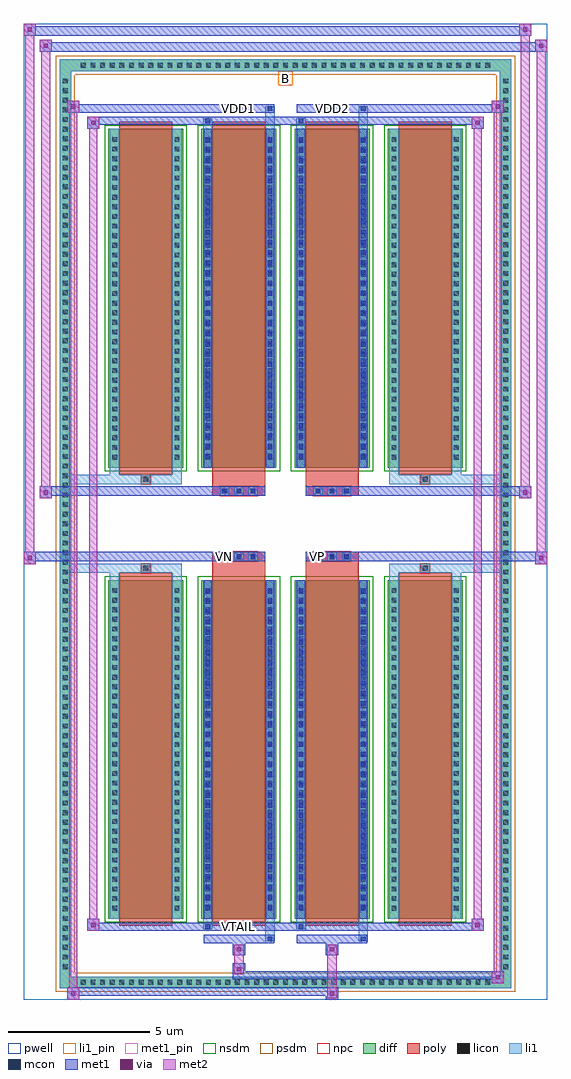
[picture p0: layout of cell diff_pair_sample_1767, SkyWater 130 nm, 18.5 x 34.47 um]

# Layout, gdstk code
import gdstk
lib = gdstk.Library(unit=1e-6, precision=5e-09)
def R(c, l, rs):  # rectangles x0, y0, x1, y1
    for r in rs: c.add(gdstk.rectangle(r[:2], r[2:], *l))
def A(c, l, x, y, w, h, nx, ny, dx, dy):  # array of equal rectangles
    R(c, l, [(x+i*dx, y+j*dy, x+i*dx+w, y+j*dy+h) for i in range(nx) for j in range(ny)])
def P(c, l, *ps):  # polygons
    for p in ps: c.add(gdstk.Polygon(p, *l))
pwell = (64, 44)
diff = (65, 20)
poly = (66, 20)
licon = (66, 44)
li1_pin = (67, 16)
li1 = (67, 20)
mcon = (67, 44)
met1_pin = (68, 16)
met1 = (68, 20)
via = (68, 44)
met2 = (69, 20)
nsdm = (93, 44)
psdm = (94, 20)
npc = (95, 20)

diff_pair_sample_1767 = lib.new_cell('diff_pair_sample_1767')
R(diff_pair_sample_1767, pwell, [(-9.25,-16.8,9.25,17.67), (-6.57,-14.99,-0.01,-0.795), (0.01,-14.99,6.57,-0.795), (-6.57,0.795,-0.01,14.99), (0.01,0.795,6.57,14.99)])
A(diff_pair_sample_1767, diff, -7.345, -16.4, 0.41, 0.41, 43, 2, 0.34, 32.39)
A(diff_pair_sample_1767, diff, -7.98, -15.845, 0.41, 0.41, 1, 93, 0, 0.34)
A(diff_pair_sample_1767, diff, 7.57, -15.845, 0.41, 0.41, 1, 93, 0, 0.34)
A(diff_pair_sample_1767, diff, -6.26, -13.945, 2.65, 11.96, 4, 2, 3.29, 15.93)
R(diff_pair_sample_1767, diff, [(-7.345,-16.4,7.345,-15.99), (-7.98,-15.845,-7.57,15.845), (7.57,-15.845,7.98,15.845), (-7.345,15.99,7.345,16.4)])
P(diff_pair_sample_1767, diff, [(7.98,16.4),(-7.98,16.4),(-7.98,-15.99),(-7.57,-15.99),(-7.57,15.99),(7.57,15.99),(7.57,-15.99),(-7.57,-15.99),(-7.98,-15.99),(-7.98,-16.4),(7.98,-16.4)])
A(diff_pair_sample_1767, poly, -5.87, -14.195, 1.87, 12.46, 4, 2, 3.29, 15.93)
A(diff_pair_sample_1767, poly, -2.31, -1.325, 0.33, 0.33, 3, 2, 0.5, 2.32)
A(diff_pair_sample_1767, poly, 0.98, -1.325, 0.33, 0.33, 3, 2, 0.5, 2.32)
R(diff_pair_sample_1767, poly, [(-5.1,-1.735,-4.77,-1.405), (-5.1,-1.735,-4.77,-1.405), (-2.58,-1.735,-0.71,-1.325), (0.71,-1.735,2.58,-1.325), (4.77,-1.735,5.1,-1.405), (4.77,-1.735,5.1,-1.405), (-2.58,-1.325,-0.71,-0.995), (0.71,-1.325,2.58,-0.995), (-2.58,0.995,-0.71,1.325), (0.71,0.995,2.58,1.325), (-2.58,1.325,-0.71,1.735), (0.71,1.325,2.58,1.735), (-5.1,1.405,-4.77,1.735), (-5.1,1.405,-4.77,1.735), (4.77,1.405,5.1,1.735), (4.77,1.405,5.1,1.735)])
A(diff_pair_sample_1767, licon, -7.225, -16.28, 0.17, 0.17, 43, 2, 0.34, 32.39)
A(diff_pair_sample_1767, licon, -7.86, -15.725, 0.17, 0.17, 1, 93, 0, 0.34)
A(diff_pair_sample_1767, licon, 7.69, -15.725, 0.17, 0.17, 1, 93, 0, 0.34)
A(diff_pair_sample_1767, licon, -6.12, -13.66, 0.17, 0.17, 1, 34, 0, 0.34)
A(diff_pair_sample_1767, licon, -3.92, -13.66, 0.17, 0.17, 1, 34, 0, 0.34)
A(diff_pair_sample_1767, licon, -2.83, -13.66, 0.17, 0.17, 1, 34, 0, 0.34)
A(diff_pair_sample_1767, licon, -0.63, -13.66, 0.17, 0.17, 1, 34, 0, 0.34)
A(diff_pair_sample_1767, licon, 0.46, -13.66, 0.17, 0.17, 1, 34, 0, 0.34)
A(diff_pair_sample_1767, licon, 2.66, -13.66, 0.17, 0.17, 1, 34, 0, 0.34)
A(diff_pair_sample_1767, licon, 3.75, -13.66, 0.17, 0.17, 1, 34, 0, 0.34)
A(diff_pair_sample_1767, licon, 5.95, -13.66, 0.17, 0.17, 1, 34, 0, 0.34)
A(diff_pair_sample_1767, licon, -2.23, -1.245, 0.17, 0.17, 3, 2, 0.5, 2.32)
A(diff_pair_sample_1767, licon, 1.06, -1.245, 0.17, 0.17, 3, 2, 0.5, 2.32)
A(diff_pair_sample_1767, licon, -6.12, 2.27, 0.17, 0.17, 1, 34, 0, 0.34)
A(diff_pair_sample_1767, licon, -3.92, 2.27, 0.17, 0.17, 1, 34, 0, 0.34)
A(diff_pair_sample_1767, licon, -2.83, 2.27, 0.17, 0.17, 1, 34, 0, 0.34)
A(diff_pair_sample_1767, licon, -0.63, 2.27, 0.17, 0.17, 1, 34, 0, 0.34)
A(diff_pair_sample_1767, licon, 0.46, 2.27, 0.17, 0.17, 1, 34, 0, 0.34)
A(diff_pair_sample_1767, licon, 2.66, 2.27, 0.17, 0.17, 1, 34, 0, 0.34)
A(diff_pair_sample_1767, licon, 3.75, 2.27, 0.17, 0.17, 1, 34, 0, 0.34)
A(diff_pair_sample_1767, licon, 5.95, 2.27, 0.17, 0.17, 1, 34, 0, 0.34)
R(diff_pair_sample_1767, licon, [(-5.02,-1.655,-4.85,-1.485), (4.85,-1.655,5.02,-1.485), (-5.02,1.485,-4.85,1.655), (4.85,1.485,5.02,1.655)])
R(diff_pair_sample_1767, li1_pin, [(-0.25,15.49,0.25,15.99)])
A(diff_pair_sample_1767, li1, -7.305, -16.36, 0.33, 0.33, 43, 2, 0.34, 32.39)
A(diff_pair_sample_1767, li1, -7.94, -15.805, 0.33, 0.33, 1, 93, 0, 0.34)
A(diff_pair_sample_1767, li1, 7.61, -15.805, 0.33, 0.33, 1, 93, 0, 0.34)
A(diff_pair_sample_1767, li1, -6.2, -13.74, 0.33, 0.33, 1, 34, 0, 0.34)
A(diff_pair_sample_1767, li1, -4, -13.74, 0.33, 0.33, 1, 34, 0, 0.34)
A(diff_pair_sample_1767, li1, -2.91, -13.74, 0.33, 0.33, 1, 34, 0, 0.34)
A(diff_pair_sample_1767, li1, -0.71, -13.74, 0.33, 0.33, 1, 34, 0, 0.34)
A(diff_pair_sample_1767, li1, 0.38, -13.74, 0.33, 0.33, 1, 34, 0, 0.34)
A(diff_pair_sample_1767, li1, 2.58, -13.74, 0.33, 0.33, 1, 34, 0, 0.34)
A(diff_pair_sample_1767, li1, 3.67, -13.74, 0.33, 0.33, 1, 34, 0, 0.34)
A(diff_pair_sample_1767, li1, 5.87, -13.74, 0.33, 0.33, 1, 34, 0, 0.34)
A(diff_pair_sample_1767, li1, -2.83, -13.63, 0.17, 0.17, 1, 32, 0, 0.36)
A(diff_pair_sample_1767, li1, -0.63, -13.63, 0.17, 0.17, 1, 32, 0, 0.36)
A(diff_pair_sample_1767, li1, 0.46, -13.63, 0.17, 0.17, 1, 32, 0, 0.36)
A(diff_pair_sample_1767, li1, 2.66, -13.63, 0.17, 0.17, 1, 32, 0, 0.36)
A(diff_pair_sample_1767, li1, -2.31, -1.325, 0.33, 0.33, 3, 2, 0.5, 2.32)
A(diff_pair_sample_1767, li1, 0.98, -1.325, 0.33, 0.33, 3, 2, 0.5, 2.32)
A(diff_pair_sample_1767, li1, -6.2, 2.19, 0.33, 0.33, 1, 34, 0, 0.34)
A(diff_pair_sample_1767, li1, -4, 2.19, 0.33, 0.33, 1, 34, 0, 0.34)
A(diff_pair_sample_1767, li1, -2.91, 2.19, 0.33, 0.33, 1, 34, 0, 0.34)
A(diff_pair_sample_1767, li1, -0.71, 2.19, 0.33, 0.33, 1, 34, 0, 0.34)
A(diff_pair_sample_1767, li1, 0.38, 2.19, 0.33, 0.33, 1, 34, 0, 0.34)
A(diff_pair_sample_1767, li1, 2.58, 2.19, 0.33, 0.33, 1, 34, 0, 0.34)
A(diff_pair_sample_1767, li1, 3.67, 2.19, 0.33, 0.33, 1, 34, 0, 0.34)
A(diff_pair_sample_1767, li1, 5.87, 2.19, 0.33, 0.33, 1, 34, 0, 0.34)
A(diff_pair_sample_1767, li1, -2.83, 2.3, 0.17, 0.17, 1, 32, 0, 0.36)
A(diff_pair_sample_1767, li1, -0.63, 2.3, 0.17, 0.17, 1, 32, 0, 0.36)
A(diff_pair_sample_1767, li1, 0.46, 2.3, 0.17, 0.17, 1, 32, 0, 0.36)
A(diff_pair_sample_1767, li1, 2.66, 2.3, 0.17, 0.17, 1, 32, 0, 0.36)
R(diff_pair_sample_1767, li1, [(-7.98,-16.4,-7.57,-15.99), (-7.98,-16.4,-7.57,-15.99), (-7.57,-16.4,7.57,-15.99), (7.57,-16.4,7.98,-15.99), (7.57,-16.4,7.98,-15.99), (-7.98,-15.99,-7.57,15.99), (7.57,-15.99,7.98,15.99), (-0.71,-14.75,-0.38,-13.945), (-0.63,-14.75,-0.46,-14.58), (2.58,-14.75,2.91,-13.945), (2.66,-14.75,2.83,-14.58), (-2.91,-14.32,-2.58,-13.945), (-2.83,-14.32,-2.66,-14.15), (0.38,-14.32,0.71,-13.945), (0.46,-14.32,0.63,-14.15), (-6.2,-13.945,-5.87,-1.985), (-4,-13.945,-3.67,-1.985), (-2.91,-13.945,-2.58,-1.985), (-0.71,-13.945,-0.38,-1.985), (0.38,-13.945,0.71,-1.985), (2.58,-13.945,2.91,-1.985), (3.67,-13.945,4,-1.985), (5.87,-13.945,6.2,-1.985), (-2.83,-13.63,-2.66,-2.3), (-0.63,-13.63,-0.46,-2.3), (0.46,-13.63,0.63,-2.3), (2.66,-13.63,2.83,-2.3), (-6.2,-1.985,-5.87,-1.405), (-4,-1.985,-3.67,-1.405), (3.67,-1.985,4,-1.405), (5.87,-1.985,6.2,-1.405), (-7.98,-1.735,-5.1,-1.405), (-6.2,-1.735,-5.1,-1.405), (-5.1,-1.735,-4.77,-1.405), (-4.77,-1.735,-3.67,-1.405), (3.67,-1.735,4.77,-1.405), (4.77,-1.735,5.1,-1.405), (4.77,-1.735,7.98,-1.405), (5.1,-1.735,6.2,-1.405), (-7.98,1.405,-5.1,1.735), (-6.2,1.405,-5.1,1.735), (-6.2,1.405,-5.87,1.985), (-5.1,1.405,-4.77,1.735), (-4.77,1.405,-3.67,1.735), (-4,1.405,-3.67,1.985), (3.67,1.405,4.77,1.735), (3.67,1.405,4,1.985), (4.77,1.405,5.1,1.735), (4.77,1.405,7.98,1.735), (5.1,1.405,6.2,1.735), (5.87,1.405,6.2,1.985), (-6.2,1.985,-5.87,13.945), (-4,1.985,-3.67,13.945), (-2.91,1.985,-2.58,13.945), (-0.71,1.985,-0.38,13.945), (0.38,1.985,0.71,13.945), (2.58,1.985,2.91,13.945), (3.67,1.985,4,13.945), (5.87,1.985,6.2,13.945), (-2.83,2.3,-2.66,13.63), (-0.63,2.3,-0.46,13.63), (0.46,2.3,0.63,13.63), (2.66,2.3,2.83,13.63), (-2.91,13.945,-2.58,14.32), (-0.71,13.945,-0.38,14.75), (0.38,13.945,0.71,14.32), (2.58,13.945,2.91,14.75), (-2.83,14.15,-2.66,14.32), (0.46,14.15,0.63,14.32), (-0.63,14.58,-0.46,14.75), (2.66,14.58,2.83,14.75), (-7.98,15.99,-7.57,16.4), (-7.98,15.99,-7.57,16.4), (-7.57,15.99,7.57,16.4), (7.57,15.99,7.98,16.4), (7.57,15.99,7.98,16.4)])
A(diff_pair_sample_1767, mcon, -2.83, -13.63, 0.17, 0.17, 1, 32, 0, 0.36)
A(diff_pair_sample_1767, mcon, -0.63, -13.63, 0.17, 0.17, 1, 32, 0, 0.36)
A(diff_pair_sample_1767, mcon, 0.46, -13.63, 0.17, 0.17, 1, 32, 0, 0.36)
A(diff_pair_sample_1767, mcon, 2.66, -13.63, 0.17, 0.17, 1, 32, 0, 0.36)
A(diff_pair_sample_1767, mcon, -2.23, -1.245, 0.17, 0.17, 3, 2, 0.5, 2.32)
A(diff_pair_sample_1767, mcon, 1.06, -1.245, 0.17, 0.17, 3, 2, 0.5, 2.32)
A(diff_pair_sample_1767, mcon, -2.83, 2.3, 0.17, 0.17, 1, 32, 0, 0.36)
A(diff_pair_sample_1767, mcon, -0.63, 2.3, 0.17, 0.17, 1, 32, 0, 0.36)
A(diff_pair_sample_1767, mcon, 0.46, 2.3, 0.17, 0.17, 1, 32, 0, 0.36)
A(diff_pair_sample_1767, mcon, 2.66, 2.3, 0.17, 0.17, 1, 32, 0, 0.36)
R(diff_pair_sample_1767, mcon, [(-0.63,-14.75,-0.46,-14.58), (2.66,-14.75,2.83,-14.58), (-2.83,-14.32,-2.66,-14.15), (0.46,-14.32,0.63,-14.15), (-2.83,14.15,-2.66,14.32), (0.46,14.15,0.63,14.32), (-0.63,14.58,-0.46,14.75), (2.66,14.58,2.83,14.75)])
R(diff_pair_sample_1767, met1_pin, [(-1.78,-14.36,-1.51,-14.09), (-2.28,-1.285,-2.01,-1.015), (1.01,-1.285,1.28,-1.015), (-1.78,14.54,-1.51,14.81), (1.51,14.54,1.78,14.81)])
A(diff_pair_sample_1767, met1, -2.89, -13.69, 0.29, 0.29, 1, 32, 0, 0.36)
A(diff_pair_sample_1767, met1, -0.69, -13.69, 0.29, 0.29, 1, 32, 0, 0.36)
A(diff_pair_sample_1767, met1, 0.4, -13.69, 0.29, 0.29, 1, 32, 0, 0.36)
A(diff_pair_sample_1767, met1, 2.6, -13.69, 0.29, 0.29, 1, 32, 0, 0.36)
A(diff_pair_sample_1767, met1, -2.29, -1.305, 0.29, 0.29, 3, 2, 0.5, 2.32)
A(diff_pair_sample_1767, met1, 1, -1.305, 0.29, 0.29, 3, 2, 0.5, 2.32)
A(diff_pair_sample_1767, met1, -2.89, 2.24, 0.29, 0.29, 1, 32, 0, 0.36)
A(diff_pair_sample_1767, met1, -0.69, 2.24, 0.29, 0.29, 1, 32, 0, 0.36)
A(diff_pair_sample_1767, met1, 0.4, 2.24, 0.29, 0.29, 1, 32, 0, 0.36)
A(diff_pair_sample_1767, met1, 2.6, 2.24, 0.29, 0.29, 1, 32, 0, 0.36)
R(diff_pair_sample_1767, met1, [(-7.71,-16.8,-7.28,-16.37), (1.43,-16.8,1.86,-16.37), (-7.71,-16.66,1.86,-16.37), (7.28,-16.23,7.71,-15.8), (-1.86,-16.09,7.71,-15.8), (-1.86,-15.95,-1.43,-15.52), (-1.86,-15.24,-1.43,-14.81), (1.43,-15.24,1.86,-14.81), (-2.89,-14.81,-0.4,-14.52), (-0.69,-14.81,-0.4,-14.52), (0.4,-14.81,2.89,-14.52), (2.6,-14.81,2.89,-14.52), (-7,-14.38,-6.57,-13.95), (-7,-14.38,-2.89,-14.09), (-2.89,-14.38,-2.6,-14.09), (-2.89,-14.38,-0.4,-14.09), (-0.4,-14.38,0.4,-14.09), (0.4,-14.38,0.69,-14.09), (0.4,-14.38,2.89,-14.09), (2.89,-14.38,7,-14.09), (6.57,-14.38,7,-13.95), (-2.89,-13.945,-2.6,-1.985), (-0.69,-13.945,-0.4,-1.985), (0.4,-13.945,0.69,-1.985), (2.6,-13.945,2.89,-1.985), (-9.25,-1.425,-8.82,-0.995), (8.82,-1.425,9.25,-0.995), (-9.25,-1.325,-0.71,-0.995), (-2.58,-1.325,-0.71,-0.995), (0.71,-1.325,2.58,-0.995), (0.71,-1.325,9.25,-0.995), (-8.68,0.895,-8.25,1.325), (8.25,0.895,8.68,1.325), (-8.68,0.995,-2.58,1.325), (-2.58,0.995,-0.71,1.325), (0.71,0.995,2.58,1.325), (2.58,0.995,8.68,1.325), (-2.89,1.985,-2.6,13.945), (-0.69,1.985,-0.4,13.945), (0.4,1.985,0.69,13.945), (2.6,1.985,2.89,13.945), (-7,13.95,-6.57,14.38), (6.57,13.95,7,14.38), (-7,14.09,-2.89,14.38), (-2.89,14.09,-2.6,14.38), (-2.89,14.09,-0.4,14.38), (-0.4,14.09,0.4,14.38), (0.4,14.09,0.69,14.38), (0.4,14.09,2.89,14.38), (2.89,14.09,7,14.38), (-7.71,14.52,-7.28,14.95), (-7.71,14.52,-2.89,14.81), (-2.89,14.52,-0.4,14.81), (-0.69,14.52,-0.4,14.81), (0.4,14.52,2.89,14.81), (2.6,14.52,2.89,14.81), (2.89,14.52,7.71,14.81), (7.28,14.52,7.71,14.95), (-8.68,16.67,-8.25,17.1), (-8.68,16.67,-6.57,17), (-6.57,16.67,6.57,17), (6.57,16.67,9.25,17), (8.82,16.67,9.25,17.1), (-9.25,17.24,-8.82,17.67), (-9.25,17.24,-6.57,17.57), (-6.57,17.24,6.57,17.57), (6.57,17.24,8.68,17.57), (8.25,17.24,8.68,17.67)])
R(diff_pair_sample_1767, via, [(-7.57,-16.66,-7.42,-16.51), (1.57,-16.66,1.72,-16.51), (7.42,-16.09,7.57,-15.94), (-1.72,-15.81,-1.57,-15.66), (-1.72,-15.1,-1.57,-14.95), (1.57,-15.1,1.72,-14.95), (-6.86,-14.24,-6.71,-14.09), (6.71,-14.24,6.86,-14.09), (-9.11,-1.285,-8.96,-1.135), (8.96,-1.285,9.11,-1.135), (-8.54,1.035,-8.39,1.185), (8.39,1.035,8.54,1.185), (-6.86,14.09,-6.71,14.24), (6.71,14.09,6.86,14.24), (-7.57,14.66,-7.42,14.81), (7.42,14.66,7.57,14.81), (-8.54,16.81,-8.39,16.96), (8.96,16.81,9.11,16.96), (-9.11,17.38,-8.96,17.53), (8.39,17.38,8.54,17.53)])
R(diff_pair_sample_1767, met2, [(-7.71,-16.8,-7.28,-16.37), (-7.64,-16.8,-7.35,14.95), (-7.35,-16.8,-7.28,-16.37), (-7.66,-16.75,-7.33,-16.42), (1.48,-16.75,1.81,-16.42), (1.48,-16.42,1.81,-15.19), (7.28,-16.23,7.71,-15.8), (7.35,-16.23,7.64,14.95), (7.64,-16.23,7.71,-15.8), (7.33,-16.18,7.66,-15.85), (-1.81,-15.9,-1.48,-15.57), (-1.81,-15.57,-1.48,-15.19), (-1.81,-15.19,-1.48,-14.86), (1.48,-15.19,1.81,-14.86), (-7,-14.38,-6.57,-13.95), (-6.93,-14.38,-6.64,14.38), (-6.64,-14.38,-6.57,-13.95), (6.57,-14.38,7,-13.95), (6.64,-14.38,6.93,14.38), (6.93,-14.38,7,-13.95), (-6.95,-14.33,-6.62,-14), (6.62,-14.33,6.95,-14), (-9.25,-1.425,-8.82,-0.995), (-9.2,-1.425,-8.87,17.67), (-8.87,-1.425,-8.82,-0.995), (8.82,-1.425,9.25,-0.995), (8.87,-1.425,9.2,17.1), (9.2,-1.425,9.25,-0.995), (-9.2,-1.375,-8.87,-1.045), (8.87,-1.375,9.2,-1.045), (-8.68,0.895,-8.25,1.325), (-8.63,0.895,-8.3,17.1), (-8.3,0.895,-8.25,1.325), (8.25,0.895,8.68,1.325), (8.3,0.895,8.63,17.67), (8.63,0.895,8.68,1.325), (-8.63,0.945,-8.3,1.275), (8.3,0.945,8.63,1.275), (-7,13.95,-6.57,14.38), (-6.64,13.95,-6.57,14.38), (6.57,13.95,7,14.38), (6.93,13.95,7,14.38), (-6.95,14,-6.62,14.33), (6.62,14,6.95,14.33), (-7.71,14.52,-7.28,14.95), (-7.35,14.52,-7.28,14.95), (7.28,14.52,7.71,14.95), (7.64,14.52,7.71,14.95), (-7.66,14.57,-7.33,14.9), (7.33,14.57,7.66,14.9), (-8.68,16.67,-8.25,17.1), (-8.3,16.67,-8.25,17.1), (8.82,16.67,9.25,17.1), (9.2,16.67,9.25,17.1), (-8.63,16.72,-8.3,17.05), (8.87,16.72,9.2,17.05), (-9.25,17.24,-8.82,17.67), (-8.87,17.24,-8.82,17.67), (8.25,17.24,8.68,17.67), (8.63,17.24,8.68,17.67), (-9.2,17.29,-8.87,17.62), (8.3,17.29,8.63,17.62)])
A(diff_pair_sample_1767, nsdm, -6.39, -14.075, 2.91, 12.22, 4, 2, 3.29, 15.93)
P(diff_pair_sample_1767, psdm, [(8.11,16.53),(-8.11,16.53),(-8.11,-15.86),(-7.44,-15.86),(-7.44,15.86),(7.44,15.86),(7.44,-15.86),(-7.44,-15.86),(-8.11,-15.86),(-8.11,-16.53),(8.11,-16.53)])
A(diff_pair_sample_1767, npc, -2.33, -1.345, 0.37, 0.37, 3, 2, 0.5, 2.32)
A(diff_pair_sample_1767, npc, 0.96, -1.345, 0.37, 0.37, 3, 2, 0.5, 2.32)
R(diff_pair_sample_1767, npc, [(-5.12,-1.755,-4.75,-1.385), (4.75,-1.755,5.12,-1.385), (-2.33,-1.345,-1.46,-0.975), (-2.33,-1.345,-1.46,-0.975), (-1.83,-1.345,-0.96,-0.975), (-1.83,-1.345,-0.96,-0.975), (0.96,-1.345,1.83,-0.975), (0.96,-1.345,1.83,-0.975), (1.46,-1.345,2.33,-0.975), (1.46,-1.345,2.33,-0.975), (-2.33,0.975,-1.46,1.345), (-2.33,0.975,-1.46,1.345), (-1.83,0.975,-0.96,1.345), (-1.83,0.975,-0.96,1.345), (0.96,0.975,1.83,1.345), (0.96,0.975,1.83,1.345), (1.46,0.975,2.33,1.345), (1.46,0.975,2.33,1.345), (-5.12,1.385,-4.75,1.755), (4.75,1.385,5.12,1.755)])
diff_pair_sample_1767.add(gdstk.Label('VTAIL', (-1.645,-14.225), layer=68, texttype=5))
diff_pair_sample_1767.add(gdstk.Label('VN', (-2.145,-1.15), layer=68, texttype=5))
diff_pair_sample_1767.add(gdstk.Label('VP', (1.145,-1.15), layer=68, texttype=5))
diff_pair_sample_1767.add(gdstk.Label('B', (0,15.74), layer=67, texttype=5))
diff_pair_sample_1767.add(gdstk.Label('VDD2', (1.645,14.675), layer=68, texttype=5))
diff_pair_sample_1767.add(gdstk.Label('VDD1', (-1.645,14.675), layer=68, texttype=5))

lib.write_gds('diff_pair_sample_1767.gds')
